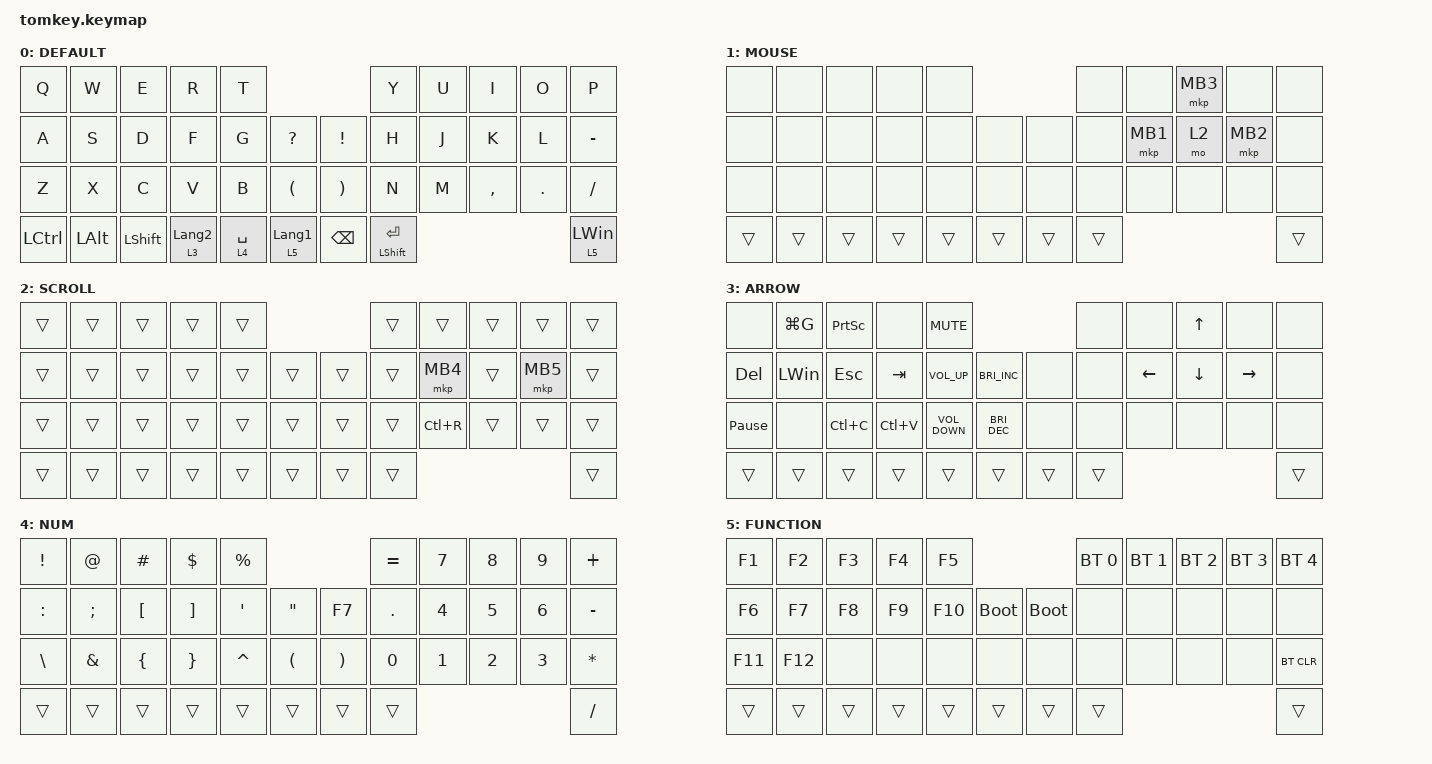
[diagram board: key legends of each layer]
#include <behaviors.dtsi>
#include <dt-bindings/zmk/bt.h>
#include <dt-bindings/zmk/keys.h>
#include <dt-bindings/zmk/pointing.h>

/ {
    combos {
        compatible = "zmk,combos";

        cube {
            bindings = <&kp SPACE>;
            key-positions = <41 40>;
        };
    };

    keymap {
        compatible = "zmk,keymap";

        DEFAULT {
            bindings = <
&kp Q      &kp W         &kp E           &kp R             &kp T                                                         &kp Y                 &kp U  &kp I      &kp O    &kp P
&kp A      &kp S         &kp D           &kp F             &kp G        &kp QUESTION              &kp EXCLAMATION        &kp H                 &kp J  &kp K      &kp L    &kp MINUS
&kp Z      &kp X         &kp C           &kp V             &kp B        &kp LEFT_PARENTHESIS      &kp RIGHT_PARENTHESIS  &kp N                 &kp M  &kp COMMA  &kp DOT  &kp SLASH
&kp LCTRL  &kp LEFT_ALT  &kp LEFT_SHIFT  &lt 3 LANGUAGE_2  &lt 4 SPACE  &lt 5 LANGUAGE_1          &kp BACKSPACE          &mt LEFT_SHIFT ENTER                             &lt 5 LEFT_WIN
            >;
        };

        MOUSE {
            bindings = <
&none   &none   &none   &none   &none                       &none   &none     &mkp MB3  &none     &none
&none   &none   &none   &none   &none   &none       &none   &none   &mkp MB1  &mo 2     &mkp MB2  &none
&none   &none   &none   &none   &none   &none       &none   &none   &none     &none     &none     &none
&trans  &trans  &trans  &trans  &trans  &trans      &trans  &trans                                &trans
            >;
        };

        SCROLL {
            bindings = <
&trans  &trans  &trans  &trans  &trans                      &trans  &trans     &trans  &trans    &trans
&trans  &trans  &trans  &trans  &trans  &trans      &trans  &trans  &mkp MB4   &trans  &mkp MB5  &trans
&trans  &trans  &trans  &trans  &trans  &trans      &trans  &trans  &kp LC(R)  &trans  &trans    &trans
&trans  &trans  &trans  &trans  &trans  &trans      &trans  &trans                               &trans
            >;
        };

        ARROW {
            bindings = <
&none            &kp LG(G)     &kp PRINTSCREEN  &none      &kp C_MUTE                                           &none   &none           &kp UP_ARROW    &none            &none
&kp DELETE       &kp LEFT_WIN  &kp ESCAPE       &kp TAB    &kp C_VOLUME_UP    &kp C_BRIGHTNESS_INC      &none   &none   &kp LEFT_ARROW  &kp DOWN_ARROW  &kp RIGHT_ARROW  &none
&kp PAUSE_BREAK  &none         &kp LC(C)        &kp LC(V)  &kp C_VOLUME_DOWN  &kp C_BRIGHTNESS_DEC      &none   &none   &none           &none           &none            &none
&trans           &trans        &trans           &trans     &trans             &trans                    &trans  &trans                                                   &trans
            >;
        };

        NUM {
            bindings = <
&kp EXCL       &kp AT         &kp HASH          &kp DOLLAR         &kp PRCNT                                                        &kp EQUAL     &kp NUMBER_7  &kp NUMBER_8  &kp NUMBER_9  &kp PLUS
&kp COLON      &kp SEMI       &kp LEFT_BRACKET  &kp RIGHT_BRACKET  &kp APOSTROPHE  &kp DOUBLE_QUOTES         &kp F7                 &kp DOT       &kp NUMBER_4  &kp NUMBER_5  &kp NUMBER_6  &kp MINUS
&kp BACKSLASH  &kp AMPERSAND  &kp LEFT_BRACE    &kp RIGHT_BRACE    &kp CARET       &kp LEFT_PARENTHESIS      &kp RIGHT_PARENTHESIS  &kp NUMBER_0  &kp NUMBER_1  &kp NUMBER_2  &kp NUMBER_3  &kp ASTERISK
&trans         &trans         &trans            &trans             &trans          &trans                    &trans                 &trans                                                  &kp SLASH
            >;
        };

        FUNCTION {
            bindings = <
&kp F1   &kp F2   &kp F3  &kp F4  &kp F5                                 &bt BT_SEL 0  &bt BT_SEL 1  &bt BT_SEL 2  &bt BT_SEL 3  &bt BT_SEL 4
&kp F6   &kp F7   &kp F8  &kp F9  &kp F10  &bootloader      &bootloader  &none         &none         &none         &none         &none
&kp F11  &kp F12  &none   &none   &none    &none            &none        &none         &none         &none         &none         &bt BT_CLR
&trans   &trans   &trans  &trans  &trans   &trans           &trans       &trans                                                  &trans
            >;
        };
    };
};
